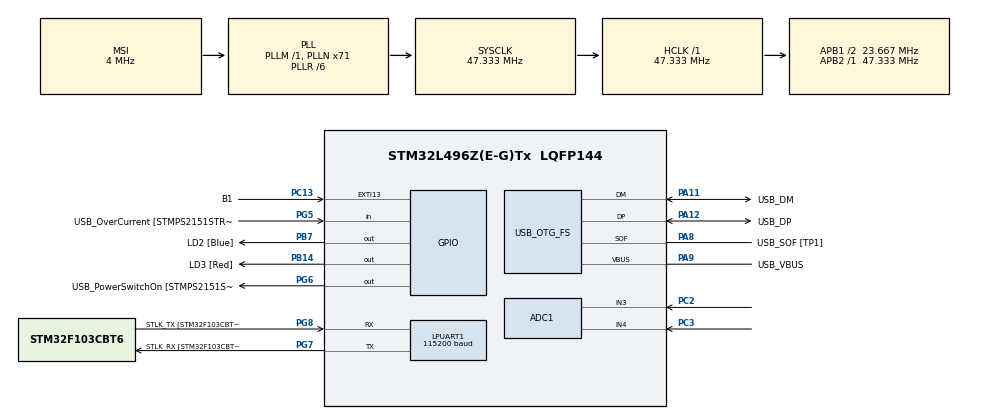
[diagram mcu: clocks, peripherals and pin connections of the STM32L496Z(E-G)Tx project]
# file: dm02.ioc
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ADC1.Channel-0\#ChannelRegularConversion=ADC_CHANNEL_3
ADC1.NbrOfConversionFlag=1
ADC1.OffsetNumber-0\#ChannelRegularConversion=ADC_OFFSET_NONE
ADC1.Rank-0\#ChannelRegularConversion=1
ADC1.SamplingTime-0\#ChannelRegularConversion=ADC_SAMPLETIME_2CYCLES_5
ADC1.SingleDiff-0\#ChannelRegularConversion=ADC_DIFFERENTIAL_ENDED
ADC1.master=1
LPUART1.BaudRate=115200
LPUART1.WordLength=UART_WORDLENGTH_8B
Mcu.Family=STM32L4
Mcu.Name=STM32L496Z(E-G)Tx
Mcu.Package=LQFP144
NVIC.ADC1_2_IRQn=true\:0\:0\:false\:false\:true\:true\:true\:true
NVIC.PriorityGroup=NVIC_PRIORITYGROUP_4
PA10.GPIO_Label=USB_ID
PA10.Signal=USB_OTG_FS_ID
PA11.GPIO_Label=USB_DM
PA11.Mode=Device_Only
PA11.Signal=USB_OTG_FS_DM
PA12.GPIO_Label=USB_DP
PA12.Mode=Device_Only
PA12.Signal=USB_OTG_FS_DP
PA13\ (JTMS/SWDIO).GPIO_Label=TMS
PA13\ (JTMS/SWDIO).Mode=Trace_Asynchronous_SW
PA13\ (JTMS/SWDIO).Signal=SYS_JTMS-SWDIO
PA14\ (JTCK/SWCLK).GPIO_Label=TCK
PA14\ (JTCK/SWCLK).Mode=Trace_Asynchronous_SW
PA14\ (JTCK/SWCLK).Signal=SYS_JTCK-SWCLK
PA8.GPIO_Label=USB_SOF [TP1]
PA8.Mode=Activate_SOF_FS
PA8.Signal=USB_OTG_FS_SOF
PA9.GPIO_Label=USB_VBUS
PA9.Mode=Activate_VBUS
PA9.Signal=USB_OTG_FS_VBUS
PB14.GPIO_Label=LD3 [Red]
PB14.Signal=GPIO_Output
PB3\ (JTDO/TRACESWO).GPIO_Label=SWO
PB3\ (JTDO/TRACESWO).Mode=Trace_Asynchronous_SW
PB3\ (JTDO/TRACESWO).Signal=SYS_JTDO-SWO
PB7.GPIO_Label=LD2 [Blue]
PB7.Signal=GPIO_Output
PC13.GPIO_Label=B1
PC13.Signal=GPXTI13
PC14-OSC32_IN\ (PC14).Mode=LSE-External-Oscillator
PC14-OSC32_IN\ (PC14).Signal=RCC_OSC32_IN
PC15-OSC32_OUT\ (PC15).Mode=LSE-External-Oscillator
PC15-OSC32_OUT\ (PC15).Signal=RCC_OSC32_OUT
PC2.Signal=ADCx_IN3
PC3.Signal=ADCx_IN4
PG5.GPIO_Label=USB_OverCurrent [STMPS2151STR_FAULT]
PG5.Signal=GPIO_Input
PG6.GPIO_Label=USB_PowerSwitchOn [STMPS2151STR_EN]
PG6.Signal=GPIO_Output
PG7.GPIO_Label=STLK_RX [STM32F103CBT6_PA3]
PG7.Mode=Asynchronous
PG7.Signal=LPUART1_TX
PG8.GPIO_Label=STLK_TX [STM32F103CBT6_PA2]
PG8.Mode=Asynchronous
PG8.Signal=LPUART1_RX
PH1-OSC_OUT\ (PH1).Signal=RCC_OSC_OUT
ProjectManager.HeapSize=0x200
ProjectManager.StackSize=0x400
ProjectManager.TargetToolchain=MDK-ARM V5.32
RCC.48MHZClocksFreq_Value=24000000
RCC.ADCFreq_Value=48000000
RCC.AHBFreq_Value=47333333.333333336
RCC.APB1CLKDivider=RCC_HCLK_DIV2
RCC.APB1Freq_Value=23666666.666666668
RCC.APB1TimFreq_Value=47333333.333333336
RCC.APB2Freq_Value=47333333.333333336
RCC.APB2TimFreq_Value=47333333.333333336
RCC.CortexFreq_Value=47333333.333333336
RCC.HCLKFreq_Value=47333333.333333336
RCC.HSE_VALUE=8000000
RCC.HSI48_VALUE=48000000
RCC.HSI_VALUE=16000000
RCC.MSI_VALUE=4000000
RCC.PLLMUL=RCC_PLL_MUL9
RCC.PLLN=71
RCC.PLLR=RCC_PLLR_DIV6
RCC.PLLSAI1N=24
RCC.PRESCALERUSB=RCC_USBCLKSOURCE_PLL_DIV1_5
RCC.SYSCLKFreq_VALUE=47333333.333333336
RCC.SYSCLKSource=RCC_SYSCLKSOURCE_PLLCLK
RCC.SYSCLKSourceVirtual=RCC_SYSCLKSOURCE_PLLCLK
RCC.USBFreq_Value=48000000
RCC.VCOOutputFreq_Value=284000000
SH.ADCx_IN3.0=ADC1_IN3,IN3-Differential
SH.ADCx_IN4.0=ADC1_IN4,IN3-Differential
USB_OTG_FS.VirtualMode=Device_Only
board=NUCLEO-L496ZG

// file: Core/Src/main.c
/* USER CODE BEGIN Header */
/**
  ******************************************************************************
  * @file           : main.c
  * @brief          : Main program body
  ******************************************************************************
  * @attention
  *
  * Copyright (c) 2023 STMicroelectronics.
  * All rights reserved.
  *
  * This software is licensed under terms that can be found in the LICENSE file
  * in the root directory of this software component.
  * If no LICENSE file comes with this software, it is provided AS-IS.
  *
  ******************************************************************************
  */
/* USER CODE END Header */
#include "main.h"
#include "adc.h"
#include "usart.h"
#include "usb_otg.h"
#include "gpio.h"

/* USER CODE BEGIN Includes */
#include "stdio.h"
/* USER CODE END Includes */

/* USER CODE BEGIN PD */
#define MAX_CNT 5 //! if two large it will response slowly
/* USER CODE END PD */

void SystemClock_Config(void);
void PeriphCommonClock_Config(void);
/* USER CODE BEGIN PFP */
int fputc(int ch, FILE *f)
{
    HAL_UART_Transmit(&hlpuart1, (uint8_t *)&ch, 1 , 0xffff);
    return ch;
}

float GetMeaVoltage(uint16_t *p, const int len);
/* USER CODE END PFP */

/* USER CODE BEGIN 0 */
uint16_t ADC_buffer[MAX_CNT] = {0};
uint8_t sendFlag = 0;
uint8_t cnt = 0;

/* USER CODE END 0 */

int main(void)
{
  /* USER CODE BEGIN 1 */
  float meanVol;
  float refVol;
  uint8_t startFlag = 0;
  uint8_t calibrateFlag = 0;
  uint8_t paperCnt;
  /* USER CODE END 1 */

  /* MCU Configuration--------------------------------------------------------*/

  /* Reset of all peripherals, Initializes the Flash interface and the Systick. */
  HAL_Init();

  /* Configure the system clock */
  SystemClock_Config();

/* Configure the peripherals common clocks */
  PeriphCommonClock_Config();

  /* Initialize all configured peripherals */
  MX_GPIO_Init();
  MX_ADC1_Init();
  MX_LPUART1_UART_Init();
  MX_USB_OTG_FS_PCD_Init();
  /* USER CODE BEGIN 2 */
  printf("Ready to detect!\n");
  printf("press button to start\n");
  /* USER CODE END 2 */

  /* Infinite loop */
  /* USER CODE BEGIN WHILE */
  while (1)
  {
    // todo �Ա궨�㷨
    if (HAL_GPIO_ReadPin(B1_GPIO_Port,B1_Pin) == GPIO_PIN_SET){
        startFlag = 1;
        calibrateFlag = 1;
    }
    /* USER CODE END WHILE */

    /* USER CODE BEGIN 3 */
    if (startFlag) {
      HAL_ADCEx_Calibration_Start(&hadc1, ADC_SINGLE_ENDED);
      HAL_ADC_Start_IT(&hadc1); //start

      if (sendFlag) {
        HAL_ADC_Stop_IT(&hadc1); // stop to wait
        meanVol = GetMeaVoltage(ADC_buffer, MAX_CNT);
        if (calibrateFlag) {
          refVol = meanVol;
          calibrateFlag = 0;
          printf("system calibrated\n");
        }
        else {
          //todo transform
          printf("%.2f V ==> ", meanVol);
          paperCnt = (meanVol / refVol) * (1.0);
          printf("%d paper(s)\n", paperCnt);
        }

      }
      sendFlag = 0;
      HAL_GPIO_WritePin(LD2_GPIO_Port, LD2_Pin, GPIO_PIN_SET); //on
      HAL_Delay(300);
      HAL_GPIO_WritePin(LD2_GPIO_Port, LD2_Pin, GPIO_PIN_RESET); //off
      HAL_Delay(300);
    }

  }
  /* USER CODE END 3 */
}

void SystemClock_Config(void)
{
  RCC_OscInitTypeDef RCC_OscInitStruct = {0};
  RCC_ClkInitTypeDef RCC_ClkInitStruct = {0};

  /** Configure the main internal regulator output voltage
  */
  if (HAL_PWREx_ControlVoltageScaling(PWR_REGULATOR_VOLTAGE_SCALE1) != HAL_OK)
  {
    Error_Handler();
  }

  /** Configure LSE Drive Capability
  */
  HAL_PWR_EnableBkUpAccess();
  __HAL_RCC_LSEDRIVE_CONFIG(RCC_LSEDRIVE_LOW);

  /** Initializes the RCC Oscillators according to the specified parameters
  * in the RCC_OscInitTypeDef structure.
  */
  RCC_OscInitStruct.OscillatorType = RCC_OSCILLATORTYPE_LSE|RCC_OSCILLATORTYPE_MSI;
  RCC_OscInitStruct.LSEState = RCC_LSE_ON;
  RCC_OscInitStruct.MSIState = RCC_MSI_ON;
  RCC_OscInitStruct.MSICalibrationValue = 0;
  RCC_OscInitStruct.MSIClockRange = RCC_MSIRANGE_6;
  RCC_OscInitStruct.PLL.PLLState = RCC_PLL_ON;
  RCC_OscInitStruct.PLL.PLLSource = RCC_PLLSOURCE_MSI;
  RCC_OscInitStruct.PLL.PLLM = 1;
  RCC_OscInitStruct.PLL.PLLN = 71;
  RCC_OscInitStruct.PLL.PLLP = RCC_PLLP_DIV2;
  RCC_OscInitStruct.PLL.PLLQ = RCC_PLLQ_DIV2;
  RCC_OscInitStruct.PLL.PLLR = RCC_PLLR_DIV6;
  if (HAL_RCC_OscConfig(&RCC_OscInitStruct) != HAL_OK)
  {
    Error_Handler();
  }

  /** Initializes the CPU, AHB and APB buses clocks
  */
  RCC_ClkInitStruct.ClockType = RCC_CLOCKTYPE_HCLK|RCC_CLOCKTYPE_SYSCLK
                              |RCC_CLOCKTYPE_PCLK1|RCC_CLOCKTYPE_PCLK2;
  RCC_ClkInitStruct.SYSCLKSource = RCC_SYSCLKSOURCE_PLLCLK;
  RCC_ClkInitStruct.AHBCLKDivider = RCC_SYSCLK_DIV1;
  RCC_ClkInitStruct.APB1CLKDivider = RCC_HCLK_DIV2;
  RCC_ClkInitStruct.APB2CLKDivider = RCC_HCLK_DIV1;

  if (HAL_RCC_ClockConfig(&RCC_ClkInitStruct, FLASH_LATENCY_2) != HAL_OK)
  {
    Error_Handler();
  }

  /** Enable MSI Auto calibration
  */
  HAL_RCCEx_EnableMSIPLLMode();
}

void PeriphCommonClock_Config(void)
{
  RCC_PeriphCLKInitTypeDef PeriphClkInit = {0};

  /** Initializes the peripherals clock
  */
  PeriphClkInit.PeriphClockSelection = RCC_PERIPHCLK_USB|RCC_PERIPHCLK_ADC;
  PeriphClkInit.AdcClockSelection = RCC_ADCCLKSOURCE_PLLSAI1;
  PeriphClkInit.UsbClockSelection = RCC_USBCLKSOURCE_PLLSAI1;
  PeriphClkInit.PLLSAI1.PLLSAI1Source = RCC_PLLSOURCE_MSI;
  PeriphClkInit.PLLSAI1.PLLSAI1M = 1;
  PeriphClkInit.PLLSAI1.PLLSAI1N = 24;
  PeriphClkInit.PLLSAI1.PLLSAI1P = RCC_PLLP_DIV2;
  PeriphClkInit.PLLSAI1.PLLSAI1Q = RCC_PLLQ_DIV2;
  PeriphClkInit.PLLSAI1.PLLSAI1R = RCC_PLLR_DIV2;
  PeriphClkInit.PLLSAI1.PLLSAI1ClockOut = RCC_PLLSAI1_48M2CLK|RCC_PLLSAI1_ADC1CLK;
  if (HAL_RCCEx_PeriphCLKConfig(&PeriphClkInit) != HAL_OK)
  {
    Error_Handler();
  }
}

/* USER CODE BEGIN 4 */
void HAL_ADC_ConvCpltCallback(ADC_HandleTypeDef* hadc)//callback
{

    ADC_buffer[cnt++] = HAL_ADC_GetValue(&hadc1); // this hadc
    // printf("%f\n", ADCvalues[idx-1]*3.3/4096);
    if (cnt == MAX_CNT){
        cnt = 0;
        sendFlag = 1;
    }
}

float GetMeaVoltage(uint16_t *p, const int len){
    int i = 0;
    float sum = 0;
    for (i = 0; i < len; i++){
      sum += (float) (p[i] * 3.3) / 4095;
    }
    return sum / len;
}
/* USER CODE END 4 */

void Error_Handler(void)
{
  __disable_irq();
  while (1)
  {
  }
}
